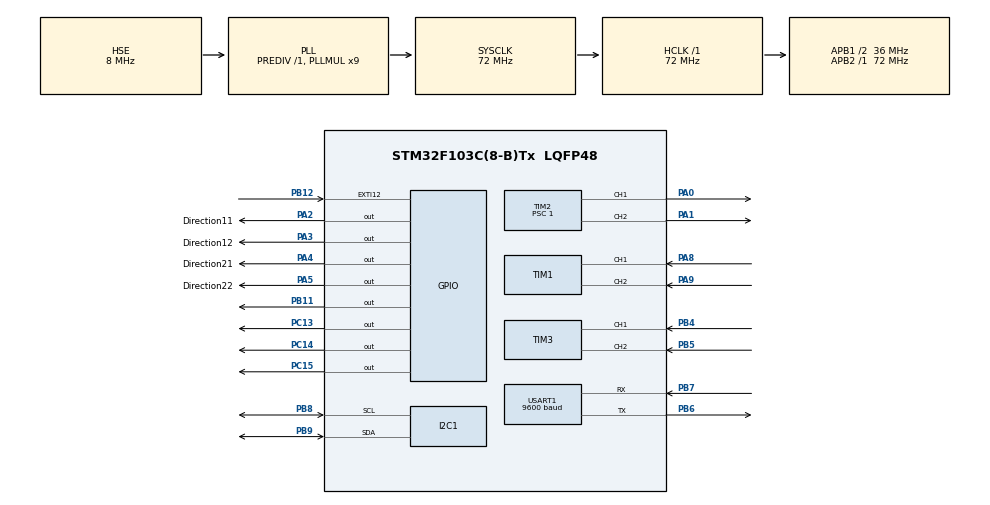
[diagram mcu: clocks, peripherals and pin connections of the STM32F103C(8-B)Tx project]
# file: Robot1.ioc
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Dma.Request0=USART1_RX
Dma.USART1_RX.0.Direction=DMA_PERIPH_TO_MEMORY
Dma.USART1_RX.0.Instance=DMA1_Channel5
Dma.USART1_RX.0.MemDataAlignment=DMA_MDATAALIGN_BYTE
Dma.USART1_RX.0.MemInc=DMA_MINC_ENABLE
Dma.USART1_RX.0.Mode=DMA_CIRCULAR
Dma.USART1_RX.0.PeriphDataAlignment=DMA_PDATAALIGN_BYTE
Dma.USART1_RX.0.PeriphInc=DMA_PINC_DISABLE
Dma.USART1_RX.0.Priority=DMA_PRIORITY_LOW
I2C1.I2C_Mode=I2C_Fast
Mcu.Family=STM32F1
Mcu.Name=STM32F103C(8-B)Tx
Mcu.Package=LQFP48
NVIC.DMA1_Channel5_IRQn=true\:0\:0\:false\:false\:true\:false\:true
NVIC.EXTI15_10_IRQn=true\:0\:0\:false\:false\:true\:true\:true
NVIC.PriorityGroup=NVIC_PRIORITYGROUP_4
NVIC.TIM1_UP_IRQn=true\:0\:0\:false\:false\:true\:true\:true
NVIC.TIM2_IRQn=true\:1\:0\:true\:false\:true\:true\:true
NVIC.TIM3_IRQn=true\:2\:0\:true\:false\:true\:true\:true
NVIC.USART1_IRQn=true\:0\:0\:false\:false\:true\:true\:true
PA0-WKUP.Signal=S_TIM2_CH1_ETR
PA1.Signal=S_TIM2_CH2
PA13.Mode=Serial_Wire
PA13.Signal=SYS_JTMS-SWDIO
PA14.Mode=Serial_Wire
PA14.Signal=SYS_JTCK-SWCLK
PA2.GPIO_Label=Direction11
PA2.Signal=GPIO_Output
PA3.GPIO_Label=Direction12
PA3.Signal=GPIO_Output
PA4.GPIO_Label=Direction21
PA4.Signal=GPIO_Output
PA5.GPIO_Label=Direction22
PA5.Signal=GPIO_Output
PA8.Signal=S_TIM1_CH1
PA9.Signal=S_TIM1_CH2
PB11.Signal=GPIO_Output
PB12.GPIO_ModeDefaultEXTI=GPIO_MODE_IT_RISING_FALLING
PB12.Signal=GPXTI12
PB4.Signal=S_TIM3_CH1
PB5.Signal=S_TIM3_CH2
PB6.Mode=Asynchronous
PB6.Signal=USART1_TX
PB7.Mode=Asynchronous
PB7.Signal=USART1_RX
PB8.Mode=I2C
PB8.Signal=I2C1_SCL
PB9.Mode=I2C
PB9.Signal=I2C1_SDA
PC13-TAMPER-RTC.Signal=GPIO_Output
PC14-OSC32_IN.Signal=GPIO_Output
PC15-OSC32_OUT.Signal=GPIO_Output
PD0-OSC_IN.Mode=HSE-External-Oscillator
PD0-OSC_IN.Signal=RCC_OSC_IN
PD1-OSC_OUT.Mode=HSE-External-Oscillator
PD1-OSC_OUT.Signal=RCC_OSC_OUT
ProjectManager.HeapSize=0x200
ProjectManager.StackSize=0x400
ProjectManager.TargetToolchain=MDK-ARM V5
RCC.AHBFreq_Value=72000000
RCC.APB1CLKDivider=RCC_HCLK_DIV2
RCC.APB1Freq_Value=36000000
RCC.APB1TimFreq_Value=72000000
RCC.APB2Freq_Value=72000000
RCC.APB2TimFreq_Value=72000000
RCC.HCLKFreq_Value=72000000
RCC.PLLMUL=RCC_PLL_MUL9
RCC.PLLSourceVirtual=RCC_PLLSOURCE_HSE
RCC.SYSCLKFreq_VALUE=72000000
RCC.SYSCLKSource=RCC_SYSCLKSOURCE_PLLCLK
RCC.USBFreq_Value=72000000
SH.S_TIM1_CH1.0=TIM1_CH1,Encoder_Interface
SH.S_TIM1_CH2.0=TIM1_CH2,Encoder_Interface
SH.S_TIM2_CH1_ETR.0=TIM2_CH1,PWM Generation1 CH1
SH.S_TIM2_CH2.0=TIM2_CH2,PWM Generation2 CH2
SH.S_TIM3_CH1.0=TIM3_CH1,Encoder_Interface
SH.S_TIM3_CH2.0=TIM3_CH2,Encoder_Interface
TIM1.AutoReloadPreload=TIM_AUTORELOAD_PRELOAD_ENABLE
TIM1.EncoderMode=TIM_ENCODERMODE_TI12
TIM1.IC1Filter=15
TIM1.IC2Filter=15
TIM2.AutoReloadPreload=TIM_AUTORELOAD_PRELOAD_ENABLE
TIM2.Channel-PWM\ Generation1\ CH1=TIM_CHANNEL_1
TIM2.Channel-PWM\ Generation2\ CH2=TIM_CHANNEL_2
TIM2.Period=35999
TIM2.Prescaler=1
TIM3.AutoReloadPreload=TIM_AUTORELOAD_PRELOAD_ENABLE
TIM3.EncoderMode=TIM_ENCODERMODE_TI12
TIM3.IC1Filter=15
TIM3.IC2Filter=15
TIM4.AutoReloadPreload=TIM_AUTORELOAD_PRELOAD_DISABLE
TIM4.Period=59000
TIM4.Prescaler=719
USART1.BaudRate=9600
USART1.VirtualMode=VM_ASYNC
VP_TIM2_VS_ClockSourceINT.Mode=Internal
VP_TIM4_VS_ClockSourceINT.Mode=Internal
board=custom

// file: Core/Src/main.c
/* USER CODE BEGIN Header */
/**
  ******************************************************************************
  * @file           : main.c
  * @brief          : Main program body
  ******************************************************************************
  * @attention
  *
  * <h2><center>&copy; Copyright (c) 2021 STMicroelectronics.
  * All rights reserved.</center></h2>
  *
  * This software component is licensed by ST under BSD 3-Clause license,
  * the "License"; You may not use this file except in compliance with the
  * License. You may obtain a copy of the License at:
  *                        opensource.org/licenses/BSD-3-Clause
  *
  ******************************************************************************
  */
/* USER CODE END Header */
#include "main.h"
#include "dma.h"
#include "i2c.h"
#include "tim.h"
#include "usart.h"
#include "gpio.h"

/* USER CODE BEGIN Includes */
#include "math.h"
//#include "sd_hal_mpu6050.h"
#include "String.h"
#include "stdio.h"
/* USER CODE END Includes */

/* USER CODE BEGIN PV */

int Speed_Motor_Left;
int Speed_Motor_Right;
float Distance1;

uint8_t Counter_10ms;

// Motor Left Parameter
int Pulse_Left;
int Pulse_Left_pre;
uint8_t Revolve_Left;
int Speed_Left;
int  Setpoint_Left =0;
int error_left;
int Sum_error_left;
int error_left_pre;
int D_error_left;
int Kp_Left = 250 ;
int Ki_Left = 5 ;
int Kd_Left = 1 ;
int Output_Contol_Left;
int Max_sum_Error = 18000;
int Min_sum_Error = 9000;
int Max_D_Error = 2000;

// Motor Right Parameter
int Pulse_Right;
int Pulse_Right_pre;
uint8_t Revolve_Right;
int Speed_Right;
int  Setpoint_Right = -0;
int error_Right;
int Sum_error_Right;
int error_Right_pre;
int D_error_Right;
int Kp_Right = 250 ;
int Ki_Right = 5 ;
int Kd_Right = 1 ;
int Output_Contol_Right;
int Max_sum_Error_Right = 18000;
int Min_sum_Error_Right = 9000;
int Max_D_Error_Right = 2000;

int State;
int Control_Signal_Deg;
int Control_Signal_Dis;

uint32_t X_Roobot;
double Y_Roobot;
double Deg_Roobot;
uint8_t Test[6];
uint8_t Ref ;
uint8_t Start_Stop;
int Speed_Robot;

char Test2[5];
uint8_t Data_R[22];
/* USER CODE END PV */

void SystemClock_Config(void);

int main(void)
{

  /* MCU Configuration--------------------------------------------------------*/

  /* Reset of all peripherals, Initializes the Flash interface and the Systick. */
  HAL_Init();

  /* Configure the system clock */
  SystemClock_Config();

  /* Initialize all configured peripherals */
  MX_GPIO_Init();
  MX_DMA_Init();
  MX_TIM1_Init();
  MX_TIM3_Init();
  MX_TIM2_Init();
  MX_TIM4_Init();
  MX_I2C1_Init();
  MX_USART1_UART_Init();
  /* USER CODE BEGIN 2 */
	__HAL_FREEZE_TIM1_DBGMCU();
  /*initial encoder Motor Right*/

	__HAL_TIM_CLEAR_IT(&htim1,TIM_IT_UPDATE);
	__HAL_TIM_ENABLE_IT(&htim1,TIM_IT_UPDATE);
	HAL_TIM_Encoder_Start_IT(&htim1,TIM_CHANNEL_1);
  HAL_TIM_Encoder_Start_IT(&htim1,TIM_CHANNEL_2);

	/*initial encoder Motor Left*/
	__HAL_TIM_CLEAR_IT(&htim3,TIM_IT_UPDATE);
	__HAL_TIM_ENABLE_IT(&htim3,TIM_IT_UPDATE);
	HAL_TIM_Encoder_Start_IT(&htim3,TIM_CHANNEL_1);
  HAL_TIM_Encoder_Start_IT(&htim3,TIM_CHANNEL_2);

	  HAL_TIM_PWM_Start_IT(&htim2,TIM_CHANNEL_1);
		HAL_TIM_PWM_Start(&htim2,TIM_CHANNEL_2);
		TIM2->CCR1 = Speed_Motor_Right;
		HAL_GPIO_WritePin(Direction11_GPIO_Port,Direction11_Pin,GPIO_PIN_RESET);
		HAL_GPIO_WritePin(Direction12_GPIO_Port,Direction12_Pin,GPIO_PIN_SET);
		TIM2->CCR2 = Speed_Motor_Left;
		HAL_GPIO_WritePin(Direction11_GPIO_Port,Direction21_Pin,GPIO_PIN_RESET);
		HAL_GPIO_WritePin(Direction12_GPIO_Port,Direction22_Pin,GPIO_PIN_SET);

	  HAL_UART_Receive_DMA(&huart1,Data_R,18);

  /* USER CODE END 2 */

  /* Infinite loop */
  while (1)
  {

    /* USER CODE BEGIN 3 */
//		  if( Start_Stop == 0x30){
//				if( Ref == 'w'){
//  				Setpoint_Left = 250 ;
//					Setpoint_Right = 250 ;
//				}
//				else if( Ref == 'a'){
//					Setpoint_Left = 100 ;
//					Setpoint_Right = 250 ;
//				}
//				else if( Ref == 'd'){
//					Setpoint_Left = 250 ;
//					Setpoint_Right = 100 ;
//				}
//			}
//			else{
//				Setpoint_Left = 0 ;
//				Setpoint_Right = 0 ;
//			}
			HAL_GPIO_TogglePin(GPIOC,GPIO_PIN_13);
			HAL_GPIO_TogglePin(GPIOC,GPIO_PIN_14);
			HAL_GPIO_TogglePin(GPIOC,GPIO_PIN_15);
			HAL_Delay(100);
//		  HAL_GPIO_TogglePin(GPIOC,GPIO_PIN_13);
		  HAL_GPIO_WritePin(GPIOB,GPIO_PIN_11,GPIO_PIN_SET);
		  HAL_Delay(1);
	  	HAL_GPIO_WritePin(GPIOB,GPIO_PIN_11,GPIO_PIN_RESET);
//		  HAL_Delay(1000);
//		  Setpoint_Right = Setpoint_Left;
//      TIM2->CCR2 = Speed_Motor_Right;
		  //TIM2->CCR1 = Speed_Motor_Left;

  }

}

void HAL_UART_RxCpltCallback(UART_HandleTypeDef *huart)
{
	Ref = Data_R[2];
	Start_Stop = Data_R[4];
	for(int i =0 ; i<6;i++){
	  Test[i] = Data_R[i];
	}
	//X_Roobot = atoi(Test);
	Control_Signal_Deg = atoi(Test);

//	float Zavie =  Control_Signal_Deg/100.0;
	for(int i =6 ; i<12;i++){
	  Test[i-6] = Data_R[i];
	}
	Control_Signal_Dis = atoi(Test);
	for(int i =12 ; i<18;i++){
	  Test[i-12] = Data_R[i];
	}
	Speed_Robot = atoi(Test);

	if( Control_Signal_Dis >600){
		Control_Signal_Dis = 600;
	}
//if( Control_Signal_Dis <20){
//	Control_Signal_Dis = 0;
//}
//
//	if( Control_Signal_Deg < 200 && Control_Signal_Deg > -200){
//		Setpoint_Right = Control_Signal_Dis;
//		Setpoint_Left = Control_Signal_Dis ;
//	}
// 	else{
//		if( Control_Signal_Deg > 0 ){
//		  Setpoint_Right = Control_Signal_Dis - Zavie;
//		  Setpoint_Left = Control_Signal_Dis ;
//			if(Setpoint_Right < 100){
//				Setpoint_Right = 100;
//			}
//	  }
//	  else{
//	  	Setpoint_Right = Control_Signal_Dis ;
//		  Setpoint_Left = Control_Signal_Dis + Zavie;
//				if(Setpoint_Left < 100){
//				Setpoint_Left	= 100;
//			}
//	  }
//	}

//if( Distance1 > 20){
   if( Control_Signal_Dis >25){
		 Setpoint_Right = Control_Signal_Deg;
		 Setpoint_Left = Speed_Robot ;
	}
	else{
		 Setpoint_Right = 0;
		 Setpoint_Left = 0 ;
	}
//}
//else{
//	    Setpoint_Right = 0;
//		  Setpoint_Left = 0 ;
//}
//
//	for(int i =5 ; i<10;i++){
//	  Test[i-5] = Data_R[i];
//	}
//	Y_Roobot = atoi(Test);
//	for(int i =10 ; i<15;i++){
//	  Test[i-10] = Data_R[i];
//	}
//	Deg_Roobot = atoi(Test);

  //X_Roobot = Data_R[0]+Data_R[1]*256 + Data_R[2]*65536;
}

void HAL_GPIO_EXTI_Callback(uint16_t GPIO_Pin)
{
	if(GPIO_Pin == GPIO_PIN_12){
		if(HAL_GPIO_ReadPin(GPIOB,GPIO_PIN_12)==GPIO_PIN_SET){
		   HAL_TIM_Base_Start(&htim4);
		}
		else{
			HAL_TIM_Base_Stop(&htim4);
			Distance1 = TIM4->CNT * 0.17;
			TIM4->CNT = 0 ;
		}
	}
}

void HAL_TIM_PWM_PulseFinishedCallback(TIM_HandleTypeDef *htim)
{

if(htim->Instance == TIM2 ){
			  Counter_10ms+=1;
        if(Counter_10ms > 10 ){

					// Calculate Speed Left

 					Counter_10ms = 0;
          Pulse_Left = __HAL_TIM_GET_COUNTER(&htim1);
          if(Setpoint_Left >= 0){
						Speed_Left = 65535*Revolve_Left + Pulse_Left - Pulse_Left_pre;
					}
					else{
						Speed_Left = -65535*Revolve_Left + Pulse_Left - Pulse_Left_pre;
					}
					Pulse_Left_pre = Pulse_Left;
          Revolve_Left = 0;

					// Calculate Speed Right

          Pulse_Right = __HAL_TIM_GET_COUNTER(&htim3);
          if(Setpoint_Right >= 0){
					  Speed_Right = 65535*Revolve_Right + Pulse_Right - Pulse_Right_pre;
					}
					else{
						Speed_Right = -65535*Revolve_Right + Pulse_Right - Pulse_Right_pre;
					}
					Pulse_Right_pre = Pulse_Right;
          Revolve_Right = 0;
          //Speed_Right = Speed_Right*(-1);
         // Calculate Controller Output

					if( Setpoint_Left >=0){
						HAL_GPIO_WritePin(Direction11_GPIO_Port,Direction11_Pin,GPIO_PIN_RESET);
		        HAL_GPIO_WritePin(Direction12_GPIO_Port,Direction12_Pin,GPIO_PIN_SET);
						error_left = Setpoint_Left - Speed_Left;
					}
					else{
						HAL_GPIO_WritePin(Direction11_GPIO_Port,Direction11_Pin,GPIO_PIN_SET);
		        HAL_GPIO_WritePin(Direction12_GPIO_Port,Direction12_Pin,GPIO_PIN_RESET);
						error_left = -Setpoint_Left + Speed_Left;
					}
          //error_left = -Setpoint_Left + Speed_Left;
          Sum_error_left += Ki_Left*error_left;
          D_error_left = Kd_Left*(error_left-error_left_pre);

					if( Sum_error_left > Max_sum_Error){
					   Sum_error_left = Max_sum_Error;
					}
					if( Sum_error_left < Min_sum_Error){
					   Sum_error_left = Min_sum_Error;
					}
					if( D_error_left > Max_D_Error){
					   D_error_left = Max_D_Error;
					}
					if( D_error_left < -Max_D_Error){
					   D_error_left = -Max_D_Error;
					}
            Output_Contol_Left = Kp_Left*error_left + D_error_left + Sum_error_left;
					if( Output_Contol_Left > 36000){
					   Output_Contol_Left = 36000;
					}
					if( Output_Contol_Left < 0){
					   Output_Contol_Left = 0;
					}
					if(Setpoint_Left == 0 ){
						Output_Contol_Left = 0;
					}
					TIM2->CCR1 = abs(Output_Contol_Left);

					if( Setpoint_Right >=0){
						HAL_GPIO_WritePin(Direction11_GPIO_Port,Direction21_Pin,GPIO_PIN_RESET);
	        	HAL_GPIO_WritePin(Direction12_GPIO_Port,Direction22_Pin,GPIO_PIN_SET);
						error_Right = Setpoint_Right - Speed_Right;
					}
					else{
						HAL_GPIO_WritePin(Direction11_GPIO_Port,Direction21_Pin,GPIO_PIN_SET);
		        HAL_GPIO_WritePin(Direction12_GPIO_Port,Direction22_Pin,GPIO_PIN_RESET);
		 				error_Right = -Setpoint_Right + Speed_Right;
					}

          Sum_error_Right += Ki_Right*error_Right;
          D_error_Right = Kd_Right*(error_Right-error_Right_pre);

					if( Sum_error_Right > Max_sum_Error_Right){
					   Sum_error_Right = Max_sum_Error_Right;
					}
					if( Sum_error_Right < Min_sum_Error_Right){
					   Sum_error_Right = Min_sum_Error_Right;
					}
					if( D_error_Right > Max_D_Error_Right){
					   D_error_Right = Max_D_Error_Right;
					}
					if( D_error_Right < -Max_D_Error_Right){
					   D_error_Right = -Max_D_Error_Right;
					}
            Output_Contol_Right = Kp_Right*error_Right + D_error_Right + Sum_error_Right;
					if( Output_Contol_Right > 36000){
					   Output_Contol_Right = 36000;
					}
					if( Output_Contol_Right < 0){
					   Output_Contol_Right = 0;
					}
					if(Setpoint_Right == 0 ){
						Output_Contol_Right = 0;
					}
					TIM2->CCR2 = Output_Contol_Right;

				}

		 }

}
void HAL_TIM_PeriodElapsedCallback(TIM_HandleTypeDef *htim)
{

		 if(htim->Instance == TIM1){
			 Revolve_Left = 1;
		 }
		 else if(htim->Instance == TIM3){
			 Revolve_Right = 1;
		 }
  /* USER CODE END 3 */
}

void SystemClock_Config(void)
{
  RCC_OscInitTypeDef RCC_OscInitStruct = {0};
  RCC_ClkInitTypeDef RCC_ClkInitStruct = {0};

  /** Initializes the RCC Oscillators according to the specified parameters
  * in the RCC_OscInitTypeDef structure.
  */
  RCC_OscInitStruct.OscillatorType = RCC_OSCILLATORTYPE_HSE;
  RCC_OscInitStruct.HSEState = RCC_HSE_ON;
  RCC_OscInitStruct.HSEPredivValue = RCC_HSE_PREDIV_DIV1;
  RCC_OscInitStruct.HSIState = RCC_HSI_ON;
  RCC_OscInitStruct.PLL.PLLState = RCC_PLL_ON;
  RCC_OscInitStruct.PLL.PLLSource = RCC_PLLSOURCE_HSE;
  RCC_OscInitStruct.PLL.PLLMUL = RCC_PLL_MUL9;
  if (HAL_RCC_OscConfig(&RCC_OscInitStruct) != HAL_OK)
  {
    Error_Handler();
  }
  /** Initializes the CPU, AHB and APB buses clocks
  */
  RCC_ClkInitStruct.ClockType = RCC_CLOCKTYPE_HCLK|RCC_CLOCKTYPE_SYSCLK
                              |RCC_CLOCKTYPE_PCLK1|RCC_CLOCKTYPE_PCLK2;
  RCC_ClkInitStruct.SYSCLKSource = RCC_SYSCLKSOURCE_PLLCLK;
  RCC_ClkInitStruct.AHBCLKDivider = RCC_SYSCLK_DIV1;
  RCC_ClkInitStruct.APB1CLKDivider = RCC_HCLK_DIV2;
  RCC_ClkInitStruct.APB2CLKDivider = RCC_HCLK_DIV1;

  if (HAL_RCC_ClockConfig(&RCC_ClkInitStruct, FLASH_LATENCY_2) != HAL_OK)
  {
    Error_Handler();
  }
}

void Error_Handler(void)
{
  __disable_irq();
  while (1)
  {
  }
}

/************************ (C) COPYRIGHT STMicroelectronics *****END OF FILE****/
